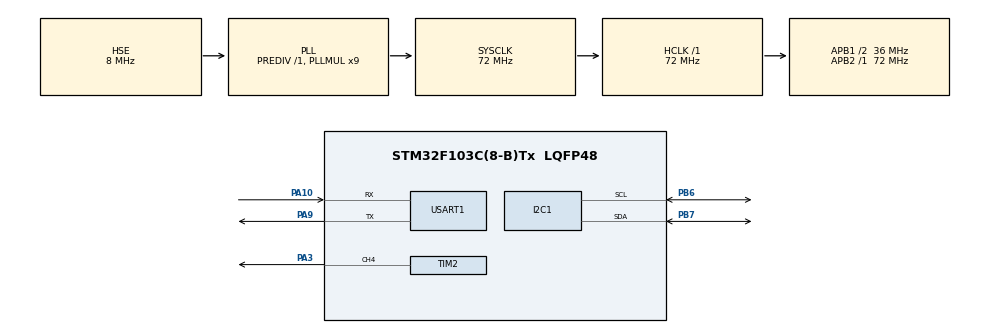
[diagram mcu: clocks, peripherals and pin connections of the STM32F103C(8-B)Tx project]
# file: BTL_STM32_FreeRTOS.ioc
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ADC1.Channel-0\#ChannelRegularConversion=ADC_CHANNEL_TEMPSENSOR
ADC1.NbrOfConversionFlag=1
ADC1.Rank-0\#ChannelRegularConversion=1
ADC1.SamplingTime-0\#ChannelRegularConversion=ADC_SAMPLETIME_239CYCLES_5
ADC1.master=1
FREERTOS.Mutexes01=uartMutex,Dynamic,NULL,Available
FREERTOS.Queues01=temperatureQueue,1,float,0,Dynamic,NULL,NULL;commandQueue,32,uint8_t,0,Dynamic,NULL,NULL
FREERTOS.Tasks01=readTempTask,24,128,StartReadTempTask,Default,NULL,Dynamic,NULL,NULL;updateLcdTask,16,256,StartUpdateLcdTask,Default,NULL,Dynamic,NULL,NULL;sendTempTask,24,256,StartSendTempTask,Default,NULL,Dynamic,NULL,NULL;processCmdTask,40,256,StartProcessCmdTask,Default,NULL,Dynamic,NULL,NULL
FREERTOS.configTOTAL_HEAP_SIZE=6144
FREERTOS.configUSE_NEWLIB_REENTRANT=1
Mcu.Family=STM32F1
Mcu.Name=STM32F103C(8-B)Tx
Mcu.Package=LQFP48
NVIC.PriorityGroup=NVIC_PRIORITYGROUP_4
NVIC.TIM4_IRQn=true\:15\:0\:false\:false\:true\:false\:false\:true\:true
NVIC.TimeBase=TIM4_IRQn
NVIC.TimeBaseIP=TIM4
NVIC.USART1_IRQn=true\:5\:0\:false\:false\:true\:true\:true\:true\:true
PA10.Mode=Asynchronous
PA10.Signal=USART1_RX
PA13.Mode=Serial_Wire
PA13.Signal=SYS_JTMS-SWDIO
PA14.Mode=Serial_Wire
PA14.Signal=SYS_JTCK-SWCLK
PA3.Signal=S_TIM2_CH4
PA9.Mode=Asynchronous
PA9.Signal=USART1_TX
PB6.Mode=I2C
PB6.Signal=I2C1_SCL
PB7.Mode=I2C
PB7.Signal=I2C1_SDA
PD0-OSC_IN.Mode=HSE-External-Oscillator
PD0-OSC_IN.Signal=RCC_OSC_IN
PD1-OSC_OUT.Mode=HSE-External-Oscillator
PD1-OSC_OUT.Signal=RCC_OSC_OUT
ProjectManager.HeapSize=0x200
ProjectManager.StackSize=0x400
ProjectManager.TargetToolchain=STM32CubeIDE
RCC.ADCPresc=RCC_ADCPCLK2_DIV6
RCC.AHBFreq_Value=72000000
RCC.APB1CLKDivider=RCC_HCLK_DIV2
RCC.APB1Freq_Value=36000000
RCC.APB1TimFreq_Value=72000000
RCC.APB2Freq_Value=72000000
RCC.APB2TimFreq_Value=72000000
RCC.HCLKFreq_Value=72000000
RCC.PLLMUL=RCC_PLL_MUL9
RCC.PLLSourceVirtual=RCC_PLLSOURCE_HSE
RCC.SYSCLKFreq_VALUE=72000000
RCC.SYSCLKSource=RCC_SYSCLKSOURCE_PLLCLK
RCC.USBFreq_Value=72000000
SH.S_TIM2_CH4.0=TIM2_CH4,PWM Generation4 CH4
TIM2.Channel-PWM\ Generation4\ CH4=TIM_CHANNEL_4
TIM2.Period=999
TIM2.Prescaler=71
TIM2.Pulse-PWM\ Generation4\ CH4=500
USART1.VirtualMode=VM_ASYNC
VP_ADC1_TempSens_Input.Mode=IN-TempSens
VP_FREERTOS_VS_CMSIS_V2.Mode=CMSIS_V2
VP_SYS_VS_tim4.Mode=TIM4
VP_TIM2_VS_ClockSourceINT.Mode=Internal
board=custom

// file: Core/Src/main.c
/* USER CODE BEGIN Header */
/**
  ******************************************************************************
  * @file           : main.c
  * @brief          : Main program body
  ******************************************************************************
  * @attention
  *
  * Copyright (c) 2025 STMicroelectronics.
  * All rights reserved.
  *
  * This software is licensed under terms that can be found in the LICENSE file
  * in the root directory of this software component.
  * If no LICENSE file comes with this software, it is provided AS-IS.
  *
  ******************************************************************************
  */
/* USER CODE END Header */
#include "main.h"
#include "cmsis_os.h"

/* USER CODE BEGIN Includes */
#include <stdio.h>
#include "liquidcrystal_i2c.h"
#include <string.h>
/* USER CODE END Includes */

ADC_HandleTypeDef hadc1;

I2C_HandleTypeDef hi2c1;

TIM_HandleTypeDef htim2;

UART_HandleTypeDef huart1;

/* Definitions for readTempTask */
osThreadId_t readTempTaskHandle;
const osThreadAttr_t readTempTask_attributes = {
  .name = "readTempTask",
  .stack_size = 128 * 4,
  .priority = (osPriority_t) osPriorityNormal,
};
/* Definitions for updateLcdTask */
osThreadId_t updateLcdTaskHandle;
const osThreadAttr_t updateLcdTask_attributes = {
  .name = "updateLcdTask",
  .stack_size = 256 * 4,
  .priority = (osPriority_t) osPriorityBelowNormal,
};
/* Definitions for sendTempTask */
osThreadId_t sendTempTaskHandle;
const osThreadAttr_t sendTempTask_attributes = {
  .name = "sendTempTask",
  .stack_size = 256 * 4,
  .priority = (osPriority_t) osPriorityNormal,
};
/* Definitions for processCmdTask */
osThreadId_t processCmdTaskHandle;
const osThreadAttr_t processCmdTask_attributes = {
  .name = "processCmdTask",
  .stack_size = 256 * 4,
  .priority = (osPriority_t) osPriorityHigh,
};
/* Definitions for temperatureQueue */
osMessageQueueId_t temperatureQueueHandle;
const osMessageQueueAttr_t temperatureQueue_attributes = {
  .name = "temperatureQueue"
};
/* Definitions for commandQueue */
osMessageQueueId_t commandQueueHandle;
const osMessageQueueAttr_t commandQueue_attributes = {
  .name = "commandQueue"
};
/* Definitions for uartMutex */
osMutexId_t uartMutexHandle;
const osMutexAttr_t uartMutex_attributes = {
  .name = "uartMutex"
};
/* USER CODE BEGIN PV */
uint8_t rxByte;
float g_currentTemperature = 0.0f;
uint32_t g_sensorPeriod = 2000;
uint32_t g_currentFrequency = 1000;
osMutexId_t uartMutexHandle;
osMutexId_t tempMutexHandle;
osMessageQueueId_t lcdQueueHandle;

/* USER CODE END PV */

void SystemClock_Config(void);
static void MX_GPIO_Init(void);
static void MX_ADC1_Init(void);
static void MX_I2C1_Init(void);
static void MX_TIM2_Init(void);
static void MX_USART1_UART_Init(void);
void StartReadTempTask(void *argument);
void StartUpdateLcdTask(void *argument);
void StartSendTempTask(void *argument);
void StartProcessCmdTask(void *argument);

/* USER CODE BEGIN 0 */
void HAL_UART_RxCpltCallback(UART_HandleTypeDef *huart)
{
    if (huart->Instance == USART1)
    {
        osMessageQueuePut(commandQueueHandle, &rxByte, 0, 0);
        HAL_UART_Receive_IT(&huart1, &rxByte, 1);
    }
}
/* USER CODE END 0 */

int main(void)
{

  /* MCU Configuration--------------------------------------------------------*/

  /* Reset of all peripherals, Initializes the Flash interface and the Systick. */
  HAL_Init();

  /* Configure the system clock */
  SystemClock_Config();

  /* Initialize all configured peripherals */
  MX_GPIO_Init();
  MX_ADC1_Init();
  MX_I2C1_Init();
  MX_TIM2_Init();
  MX_USART1_UART_Init();
  /* USER CODE BEGIN 2 */
  HD44780_Init(2);
  HAL_TIM_PWM_Start(&htim2, TIM_CHANNEL_4);
  HAL_ADC_Start(&hadc1);
  HAL_UART_Receive_IT(&huart1, &rxByte, 1);
  /* USER CODE END 2 */

  /* Init scheduler */
  osKernelInitialize();
  /* Create the mutex(es) */
  /* creation of uartMutex */
  uartMutexHandle = osMutexNew(&uartMutex_attributes);

  /* USER CODE BEGIN RTOS_MUTEX */
    // Tao mutex de bao ve bien nhiet do
    tempMutexHandle = osMutexNew(NULL);
  /* USER CODE END RTOS_MUTEX */

  /* Create the queue(s) */
  /* creation of temperatureQueue */
  temperatureQueueHandle = osMessageQueueNew (1, sizeof(float), &temperatureQueue_attributes);

  /* creation of commandQueue */
  commandQueueHandle = osMessageQueueNew (32, sizeof(uint8_t), &commandQueue_attributes);

  lcdQueueHandle = osMessageQueueNew(5, sizeof(float), NULL);

  /* Create the thread(s) */
  /* creation of readTempTask */
  readTempTaskHandle = osThreadNew(StartReadTempTask, NULL, &readTempTask_attributes);

  /* creation of updateLcdTask */
  updateLcdTaskHandle = osThreadNew(StartUpdateLcdTask, NULL, &updateLcdTask_attributes);

  /* creation of sendTempTask */
  sendTempTaskHandle = osThreadNew(StartSendTempTask, NULL, &sendTempTask_attributes);

  /* creation of processCmdTask */
  processCmdTaskHandle = osThreadNew(StartProcessCmdTask, NULL, &processCmdTask_attributes);

  /* Start scheduler */
  osKernelStart();

  /* We should never get here as control is now taken by the scheduler */

  /* Infinite loop */
  while (1)
  {

  }
}

void SystemClock_Config(void)
{
  RCC_OscInitTypeDef RCC_OscInitStruct = {0};
  RCC_ClkInitTypeDef RCC_ClkInitStruct = {0};
  RCC_PeriphCLKInitTypeDef PeriphClkInit = {0};

  /** Initializes the RCC Oscillators according to the specified parameters
  * in the RCC_OscInitTypeDef structure.
  */
  RCC_OscInitStruct.OscillatorType = RCC_OSCILLATORTYPE_HSE;
  RCC_OscInitStruct.HSEState = RCC_HSE_ON;
  RCC_OscInitStruct.HSEPredivValue = RCC_HSE_PREDIV_DIV1;
  RCC_OscInitStruct.HSIState = RCC_HSI_ON;
  RCC_OscInitStruct.PLL.PLLState = RCC_PLL_ON;
  RCC_OscInitStruct.PLL.PLLSource = RCC_PLLSOURCE_HSE;
  RCC_OscInitStruct.PLL.PLLMUL = RCC_PLL_MUL9;
  if (HAL_RCC_OscConfig(&RCC_OscInitStruct) != HAL_OK)
  {
    Error_Handler();
  }

  /** Initializes the CPU, AHB and APB buses clocks
  */
  RCC_ClkInitStruct.ClockType = RCC_CLOCKTYPE_HCLK|RCC_CLOCKTYPE_SYSCLK
                              |RCC_CLOCKTYPE_PCLK1|RCC_CLOCKTYPE_PCLK2;
  RCC_ClkInitStruct.SYSCLKSource = RCC_SYSCLKSOURCE_PLLCLK;
  RCC_ClkInitStruct.AHBCLKDivider = RCC_SYSCLK_DIV1;
  RCC_ClkInitStruct.APB1CLKDivider = RCC_HCLK_DIV2;
  RCC_ClkInitStruct.APB2CLKDivider = RCC_HCLK_DIV1;

  if (HAL_RCC_ClockConfig(&RCC_ClkInitStruct, FLASH_LATENCY_2) != HAL_OK)
  {
    Error_Handler();
  }
  PeriphClkInit.PeriphClockSelection = RCC_PERIPHCLK_ADC;
  PeriphClkInit.AdcClockSelection = RCC_ADCPCLK2_DIV6;
  if (HAL_RCCEx_PeriphCLKConfig(&PeriphClkInit) != HAL_OK)
  {
    Error_Handler();
  }
}

static void MX_ADC1_Init(void)
{

  ADC_ChannelConfTypeDef sConfig = {0};

  /** Common config
  */
  hadc1.Instance = ADC1;
  hadc1.Init.ScanConvMode = ADC_SCAN_DISABLE;
  hadc1.Init.ContinuousConvMode = DISABLE;
  hadc1.Init.DiscontinuousConvMode = DISABLE;
  hadc1.Init.ExternalTrigConv = ADC_SOFTWARE_START;
  hadc1.Init.DataAlign = ADC_DATAALIGN_RIGHT;
  hadc1.Init.NbrOfConversion = 1;
  if (HAL_ADC_Init(&hadc1) != HAL_OK)
  {
    Error_Handler();
  }

  /** Configure Regular Channel
  */
  sConfig.Channel = ADC_CHANNEL_TEMPSENSOR;
  sConfig.Rank = ADC_REGULAR_RANK_1;
  sConfig.SamplingTime = ADC_SAMPLETIME_239CYCLES_5;
  if (HAL_ADC_ConfigChannel(&hadc1, &sConfig) != HAL_OK)
  {
    Error_Handler();
  }

}

static void MX_I2C1_Init(void)
{

  hi2c1.Instance = I2C1;
  hi2c1.Init.ClockSpeed = 100000;
  hi2c1.Init.DutyCycle = I2C_DUTYCYCLE_2;
  hi2c1.Init.OwnAddress1 = 0;
  hi2c1.Init.AddressingMode = I2C_ADDRESSINGMODE_7BIT;
  hi2c1.Init.DualAddressMode = I2C_DUALADDRESS_DISABLE;
  hi2c1.Init.OwnAddress2 = 0;
  hi2c1.Init.GeneralCallMode = I2C_GENERALCALL_DISABLE;
  hi2c1.Init.NoStretchMode = I2C_NOSTRETCH_DISABLE;
  if (HAL_I2C_Init(&hi2c1) != HAL_OK)
  {
    Error_Handler();
  }

}

static void MX_TIM2_Init(void)
{

  TIM_ClockConfigTypeDef sClockSourceConfig = {0};
  TIM_MasterConfigTypeDef sMasterConfig = {0};
  TIM_OC_InitTypeDef sConfigOC = {0};

  htim2.Instance = TIM2;
  htim2.Init.Prescaler = 71;
  htim2.Init.CounterMode = TIM_COUNTERMODE_UP;
  htim2.Init.Period = 999;
  htim2.Init.ClockDivision = TIM_CLOCKDIVISION_DIV1;
  htim2.Init.AutoReloadPreload = TIM_AUTORELOAD_PRELOAD_DISABLE;
  if (HAL_TIM_Base_Init(&htim2) != HAL_OK)
  {
    Error_Handler();
  }
  sClockSourceConfig.ClockSource = TIM_CLOCKSOURCE_INTERNAL;
  if (HAL_TIM_ConfigClockSource(&htim2, &sClockSourceConfig) != HAL_OK)
  {
    Error_Handler();
  }
  if (HAL_TIM_PWM_Init(&htim2) != HAL_OK)
  {
    Error_Handler();
  }
  sMasterConfig.MasterOutputTrigger = TIM_TRGO_RESET;
  sMasterConfig.MasterSlaveMode = TIM_MASTERSLAVEMODE_DISABLE;
  if (HAL_TIMEx_MasterConfigSynchronization(&htim2, &sMasterConfig) != HAL_OK)
  {
    Error_Handler();
  }
  sConfigOC.OCMode = TIM_OCMODE_PWM1;
  sConfigOC.Pulse = 500;
  sConfigOC.OCPolarity = TIM_OCPOLARITY_HIGH;
  sConfigOC.OCFastMode = TIM_OCFAST_DISABLE;
  if (HAL_TIM_PWM_ConfigChannel(&htim2, &sConfigOC, TIM_CHANNEL_4) != HAL_OK)
  {
    Error_Handler();
  }
  HAL_TIM_MspPostInit(&htim2);

}

static void MX_USART1_UART_Init(void)
{

  huart1.Instance = USART1;
  huart1.Init.BaudRate = 115200;
  huart1.Init.WordLength = UART_WORDLENGTH_8B;
  huart1.Init.StopBits = UART_STOPBITS_1;
  huart1.Init.Parity = UART_PARITY_NONE;
  huart1.Init.Mode = UART_MODE_TX_RX;
  huart1.Init.HwFlowCtl = UART_HWCONTROL_NONE;
  huart1.Init.OverSampling = UART_OVERSAMPLING_16;
  if (HAL_UART_Init(&huart1) != HAL_OK)
  {
    Error_Handler();
  }

}

static void MX_GPIO_Init(void)
{

  /* GPIO Ports Clock Enable */
  __HAL_RCC_GPIOD_CLK_ENABLE();
  __HAL_RCC_GPIOA_CLK_ENABLE();
  __HAL_RCC_GPIOB_CLK_ENABLE();

}

void StartReadTempTask(void *argument)
{
  /* USER CODE BEGIN 5 */
	uint32_t xLastWakeTime = osKernelGetTickCount();
  /* Infinite loop */
	for (;;)
	    {
	        uint32_t period;

	        // Lấy chu kỳ đo
	        osMutexAcquire(tempMutexHandle, osWaitForever);
	        period = g_sensorPeriod;
	        osMutexRelease(tempMutexHandle);

	        xLastWakeTime += period;
	        osDelayUntil(xLastWakeTime);

	        // Đọc ADC
	        HAL_ADC_Start(&hadc1);
	        HAL_ADC_PollForConversion(&hadc1, 100);
	        uint32_t adcVal = HAL_ADC_GetValue(&hadc1);
	        HAL_ADC_Stop(&hadc1);

	        // Tính nhiệt độ
	        float temperature = ((1.43f - (float)adcVal * 3.3f / 4095.0f) / 0.0043f) + 25.0f;

	        // Cập nhật biến toàn cục
	        osMutexAcquire(tempMutexHandle, osWaitForever);
	        g_currentTemperature = temperature;
	        osMessageQueuePut(lcdQueueHandle, &temperature, 0, 0);  // gửi cho LCD
	        osMutexRelease(tempMutexHandle);

	        osMessageQueuePut(temperatureQueueHandle, &temperature, 0, 0); // Gửi nhiệt độ vào queue để task UART xử lý
	    }
  /* USER CODE END 5 */
}

void StartUpdateLcdTask(void *argument)
{
  /* USER CODE BEGIN StartUpdateLcdTask */
    float temp;
    uint32_t freq;
    char lcdBuffer[20];
  /* Infinite loop */
    for (;;)
    {
        // Chờ dữ liệu mới từ queue
        if (osMessageQueueGet(lcdQueueHandle, &temp, NULL, osWaitForever) == osOK)
        {
            // Đọc tần số hiện tại
            osMutexAcquire(tempMutexHandle, osWaitForever);
            freq = g_currentFrequency;
            osMutexRelease(tempMutexHandle);

            sprintf(lcdBuffer, "Temp: %.1fC    ", temp);
            HD44780_SetCursor(0, 0);
            HD44780_PrintStr(lcdBuffer);

            sprintf(lcdBuffer, "Freq: %luHz   ", freq);
            HD44780_SetCursor(0, 1);
            HD44780_PrintStr(lcdBuffer);
        }
    }
  /* USER CODE END StartUpdateLcdTask */
}

void StartSendTempTask(void *argument)
{
  /* USER CODE BEGIN StartSendTempTask */
	float receivedTemp;
	uint32_t localFreq;
	char txBuffer[50];
  /* Infinite loop */
    for(;;)
      {
        // Chờ nhận nhiệt độ mới từ queue
        if (osMessageQueueGet(temperatureQueueHandle, &receivedTemp, NULL, osWaitForever) == osOK)
        {
          // Lấy tần số hiện tại từ biến global
          if (osMutexAcquire(tempMutexHandle, osWaitForever) == osOK)
          {
            localFreq = g_currentFrequency;
            osMutexRelease(tempMutexHandle);
          }

          // Gửi UART
          if (osMutexAcquire(uartMutexHandle, osWaitForever) == osOK)
          {
            sprintf(txBuffer, "Temp: %.1f C, Freq: %lu Hz\r\n", receivedTemp, localFreq);
            HAL_UART_Transmit(&huart1, (uint8_t*)txBuffer, strlen(txBuffer), 100);
            osMutexRelease(uartMutexHandle);
          }
        }
      }
  /* USER CODE END StartSendTempTask */
}

void StartProcessCmdTask(void *argument)
{
  /* USER CODE BEGIN StartProcessCmdTask */
    char cmdBuffer[32];
    uint8_t cmdIndex = 0;
    uint8_t ch;
  /* Infinite loop */
	for (;;)
	    {
	        if (osMessageQueueGet(commandQueueHandle, &ch, NULL, osWaitForever) == osOK)
	        {
	            if (ch >= 32 && ch <= 126 && cmdIndex < sizeof(cmdBuffer) - 1)
	            {
	                cmdBuffer[cmdIndex++] = ch;
	            }
	            if (ch == '\n' || ch == '\r')
	            {
	                cmdBuffer[cmdIndex] = '\0';

	                int freq, period;
	                if (sscanf(cmdBuffer, "FREQ=%d", &freq) == 1 && freq > 0 && freq <= 20000)
	                {
	                    uint32_t new_arr = (72000000 / (72 * freq));
	                    if (new_arr > 0) new_arr -= 1;

	                    HAL_TIM_PWM_Stop(&htim2, TIM_CHANNEL_4);
	                    __HAL_TIM_SET_AUTORELOAD(&htim2, new_arr);
	                    HAL_TIM_PWM_Start(&htim2, TIM_CHANNEL_4);

	                    osMutexAcquire(tempMutexHandle, osWaitForever);
	                    g_currentFrequency = freq;
	                    osMutexRelease(tempMutexHandle);

	                    osMutexAcquire(uartMutexHandle, osWaitForever);
	                    sprintf(cmdBuffer, "OK! Frequency set to %d Hz\r\n", freq);
	                    HAL_UART_Transmit(&huart1, (uint8_t*)cmdBuffer, strlen(cmdBuffer), 100);
	                    osMutexRelease(uartMutexHandle);
	                }
	                else if (sscanf(cmdBuffer, "PERIOD=%d", &period) == 1 && period >= 100 && period <= 10000)
	                {
	                    osMutexAcquire(tempMutexHandle, osWaitForever);
	                    g_sensorPeriod = period;
	                    osMutexRelease(tempMutexHandle);

	                    osMutexAcquire(uartMutexHandle, osWaitForever);
	                    sprintf(cmdBuffer, "OK! Period set to %d ms\r\n", period);
	                    HAL_UART_Transmit(&huart1, (uint8_t*)cmdBuffer, strlen(cmdBuffer), 100);
	                    osMutexRelease(uartMutexHandle);
	                }
	                else
	                {
	                    osMutexAcquire(uartMutexHandle, osWaitForever);
	                    char errMsg[] = "Invalid command. Use FREQ=xxx or PERIOD=xxx\r\n";
	                    HAL_UART_Transmit(&huart1, (uint8_t*)errMsg, sizeof(errMsg)-1, 100);
	                    osMutexRelease(uartMutexHandle);
	                }

	                cmdIndex = 0;
	                memset(cmdBuffer, 0, sizeof(cmdBuffer));
	            }
	        }
	    }
  /* USER CODE END StartProcessCmdTask */
}

void HAL_TIM_PeriodElapsedCallback(TIM_HandleTypeDef *htim)
{
  if (htim->Instance == TIM4)
  {
    HAL_IncTick();
  }
}

void Error_Handler(void)
{
  __disable_irq();
  while (1)
  {
  }
}
